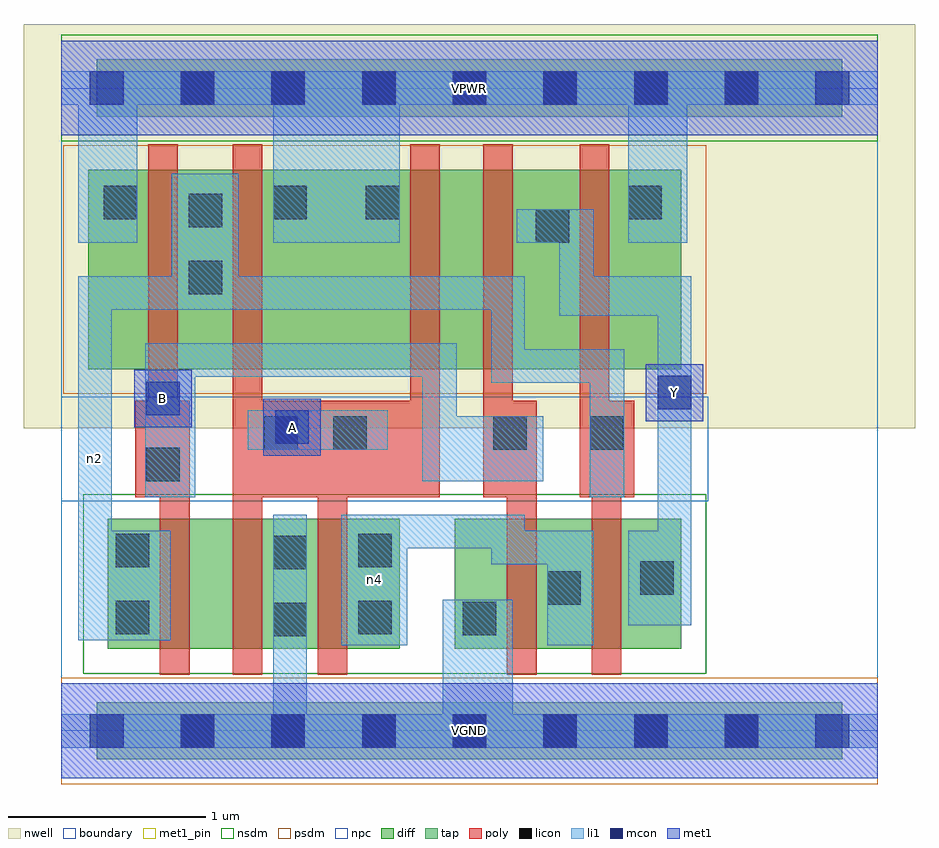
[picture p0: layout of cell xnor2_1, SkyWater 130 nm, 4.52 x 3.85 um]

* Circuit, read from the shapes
.subckt xnor2_1 A B VGND VPWR Y n2 n4
XM1 n1 B n2 VGND sky130_fd_pr__nfet_01v8 w=0.66 l=0.15
XM2 VGND A n1 VGND sky130_fd_pr__nfet_01v8 w=0.66 l=0.15
XM3 n4 A VGND VGND sky130_fd_pr__nfet_01v8 w=0.66 l=0.15
XM4 n4 B VGND VGND sky130_fd_pr__nfet_01v8 w=0.66 l=0.15
XM5 Y n2 n4 VGND sky130_fd_pr__nfet_01v8 w=0.66 l=0.15
XM6 n2 B VPWR VPWR sky130_fd_pr__pfet_01v8 w=1.01 l=0.15
XM7 VPWR A n2 VPWR sky130_fd_pr__pfet_01v8 w=1.01 l=0.15
XM8 n3 A VPWR VPWR sky130_fd_pr__pfet_01v8 w=1.01 l=0.15
XM9 Y B n3 VPWR sky130_fd_pr__pfet_01v8 w=1.01 l=0.15
XM10 VPWR n2 Y VPWR sky130_fd_pr__pfet_01v8 w=1.01 l=0.15
.ends

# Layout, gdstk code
import gdstk
lib = gdstk.Library(unit=1e-6, precision=1e-09)
def R(c, l, rs):  # rectangles x0, y0, x1, y1
    for r in rs: c.add(gdstk.rectangle(r[:2], r[2:], *l))
def A(c, l, x, y, w, h, nx, ny, dx, dy):  # array of equal rectangles
    R(c, l, [(x+i*dx, y+j*dy, x+i*dx+w, y+j*dy+h) for i in range(nx) for j in range(ny)])
nwell = (64, 20)
diff = (65, 20)
tap = (65, 44)
poly = (66, 20)
licon = (66, 44)
li1 = (67, 20)
mcon = (67, 44)
met1_pin = (68, 16)
met1 = (68, 20)
nsdm = (93, 44)
psdm = (94, 20)
npc = (95, 20)
boundary = (235, 4)

xnor2_1 = lib.new_cell('xnor2_1')
R(xnor2_1, nwell, [(-0.19,1.535,4.33,3.585), (0,1.535,4.14,3.585)])
R(xnor2_1, diff, [(0.235,0.415,1.715,1.075), (1.995,0.415,3.145,1.075), (0.135,1.835,3.145,2.845)])
R(xnor2_1, tap, [(0.18,-0.145,3.96,0.145), (0.18,3.115,3.96,3.405)])
R(xnor2_1, poly, [(0.5,0.285,0.65,1.675), (0.87,0.285,1.02,2.975), (1.3,0.285,1.45,1.675), (2.26,0.285,2.41,1.675), (2.69,0.285,2.84,1.675), (0.375,1.185,0.65,1.675), (0.44,1.185,0.59,2.975), (0.87,1.185,1.92,1.675), (1.77,1.185,1.92,2.975), (2.14,1.185,2.29,2.975), (2.63,1.185,2.905,1.675), (2.63,1.185,2.78,2.975)])
A(xnor2_1, licon, 0.605, -0.085, 0.17, 0.17, 7, 2, 0.46, 3.26)
R(xnor2_1, licon, [(1.075,0.48,1.245,0.65), (2.035,0.485,2.205,0.655), (0.275,0.49,0.445,0.66), (1.505,0.49,1.675,0.66), (2.465,0.64,2.635,0.81), (2.935,0.69,3.105,0.86), (1.075,0.82,1.245,0.99), (0.275,0.83,0.445,1), (1.505,0.83,1.675,1), (0.43,1.265,0.6,1.435), (1.03,1.425,1.2,1.595), (1.38,1.425,1.55,1.595), (2.19,1.425,2.36,1.595), (2.68,1.425,2.85,1.595), (0.645,2.215,0.815,2.385), (2.405,2.475,2.575,2.645), (0.645,2.555,0.815,2.725), (0.215,2.595,0.385,2.765), (1.075,2.595,1.245,2.765), (1.545,2.595,1.715,2.765), (2.875,2.595,3.045,2.765)])
R(xnor2_1, li1, [(0,-0.085,4.14,0.085), (1.075,-0.085,1.245,1.095), (1.935,-0.085,2.29,0.665), (1.42,0.435,1.755,1.095), (2.465,0.435,2.7,1.015), (0.085,0.46,0.255,2.305), (0.085,0.46,0.555,1.015), (2.875,0.535,3.195,1.015), (3.025,0.535,3.195,2.305), (2.18,0.845,2.7,1.015), (1.42,0.925,2.35,1.095), (0.425,1.185,0.68,1.965), (2.68,1.185,2.855,1.935), (1.83,1.265,2.445,1.595), (1.83,1.265,2.005,1.965), (0.945,1.425,1.655,1.625), (2.18,1.765,2.855,1.935), (2.18,1.765,2.35,2.305), (0.425,1.795,2.005,1.965), (2.525,2.105,3.195,2.305), (2.525,2.105,2.7,2.645), (0.085,2.135,2.35,2.305), (0.56,2.135,0.9,2.825), (0.085,2.475,0.385,3.345), (1.075,2.475,1.715,3.345), (2.31,2.475,2.7,2.645), (2.875,2.475,3.175,3.345), (0,3.175,4.14,3.345)])
A(xnor2_1, mcon, 0.145, -0.085, 0.17, 0.17, 9, 2, 0.46, 3.26)
R(xnor2_1, mcon, [(1.085,1.455,1.255,1.625), (0.43,1.6,0.6,1.77), (3.025,1.63,3.195,1.8)])
R(xnor2_1, met1_pin, [(0,-0.24,4.14,0.24), (1.025,1.395,1.315,1.685), (0.37,1.54,0.66,1.83), (2.965,1.57,3.255,1.86), (0,3.02,4.14,3.5)])
R(xnor2_1, met1, [(0,-0.24,4.14,0.24), (1.025,1.395,1.315,1.685), (0.37,1.54,0.66,1.83), (2.965,1.57,3.255,1.86), (0,3.02,4.14,3.5)])
R(xnor2_1, nsdm, [(0.11,0.29,3.27,1.2), (0,2.99,4.14,3.53)])
R(xnor2_1, psdm, [(0,-0.27,4.14,0.27), (0.01,1.71,3.27,2.97)])
R(xnor2_1, npc, [(0,1.165,3.28,1.695)])
R(xnor2_1, boundary, [(0,0,4.14,3.26)])
xnor2_1.add(gdstk.Label('n4', (1.587,0.765), layer=67, texttype=5))
xnor2_1.add(gdstk.Label('n2', (0.17,1.382), layer=67, texttype=5))
xnor2_1.add(gdstk.Label('A', (1.17,1.54), layer=68, texttype=5))
xnor2_1.add(gdstk.Label('B', (0.515,1.685), layer=68, texttype=5))
xnor2_1.add(gdstk.Label('Y', (3.11,1.715), layer=68, texttype=5))
xnor2_1.add(gdstk.Label('VPWR', (2.07,3.26), layer=68, texttype=5))
xnor2_1.add(gdstk.Label('VGND', (2.07,0), layer=68, texttype=5))
xnor2_1.add(gdstk.Label('A', (1.17,1.54), layer=68, texttype=16))
xnor2_1.add(gdstk.Label('B', (0.515,1.685), layer=68, texttype=16))
xnor2_1.add(gdstk.Label('Y', (3.11,1.715), layer=68, texttype=16))
xnor2_1.add(gdstk.Label('VPWR', (2.07,3.26), layer=68, texttype=16))
xnor2_1.add(gdstk.Label('VGND', (2.07,0), layer=68, texttype=16))

lib.write_gds('xnor2_1.gds')
